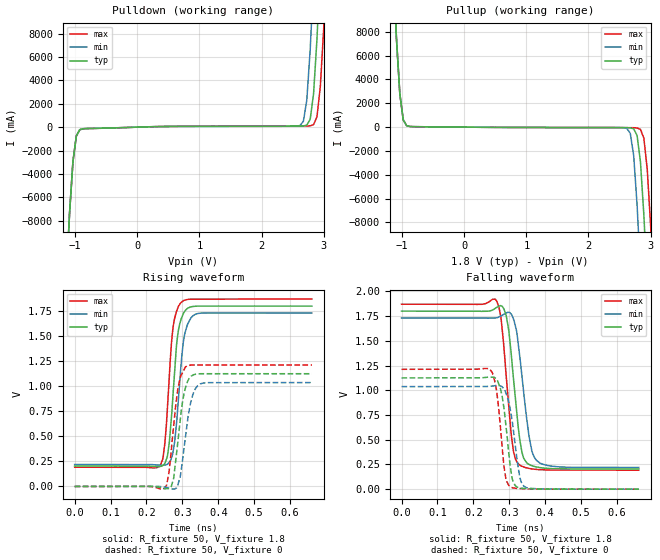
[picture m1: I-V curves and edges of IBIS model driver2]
| IBIS file invchain_skewp_tr5ps.ibs created by PYS2IBIS3
| Missouri S&T EMC Lab
[IBIS Ver] 7.1
[File Name] invchain_skewp_tr5ps.ibs
[File Rev] 1.0
[Date] Jul 27, 2026
[Source] inv_chain variant 'skewp' -- weak PMOS, Wp = Wn
[Notes] Parameter selection; sim_time=6.606e-10, tr=tf=5.000e-12.
[Component] invchain
[Manufacturer] s2ibispy study
[Package]
| variable   typ   min   max
R_pkg 0 NA NA
L_pkg 0H NA NA
C_pkg 0F NA NA
[Pin]  signal_name   model_name   R_pin   L_pin   C_pin
VSSQ   VSSQ   Gnd
VCCQ   VCCQ   Power
| IN IN dummy
PAD   PAD   driver2
| End of Component
| Models and submodels in the file (1): driver2 (Output)
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[Model] driver2
Model_type Output
Polarity Non-Inverting
Enable Active-High
Vinl  = 0.8V
Vinh  = 2V
C_comp 0.4680pF NA NA
[Temperature Range] 27.0000 27.0000 27.0000
[Voltage Range] 1.8000V 1.7000V 1.9000V
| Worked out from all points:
|   slope of the pulldown table from 0 to 0.27 V, typ, clamps not added: 6.79 ohm
|   slope of the pullup table from 0 to 0.27 V, typ, clamps not added: 24.6 ohm
|   rising waveform, R_fixture 50, V_fixture 1.8: 20-80 % time 20.2ps typ, 21.4ps min, 18.9ps max; typ from 0.204 V to 1.8 V
|   rising waveform, R_fixture 50, V_fixture 0: 20-80 % time 22.4ps typ, 24.1ps min, 21.5ps max; typ from 0 V to 1.12 V
|   falling waveform, R_fixture 50, V_fixture 1.8: 20-80 % time 26.1ps typ, 29.4ps min, 23.8ps max; typ from 1.8 V to 0.204 V
|   falling waveform, R_fixture 50, V_fixture 0: 20-80 % time 21.3ps typ, 24.1ps min, 19.2ps max; typ from 1.12 V to 0 V
[Pulldown]
| Voltage   I(typ)   I(min)   I(max)
-1.8V     -87.88A    -87.88A    -87.88A
-1.145V   -13.18A    -13.18A    -13.18A
-1.091V   -7.364A    -7.362A    -7.366A
-981.8mV  -760.7mA   -755.8mA   -765.3mA
-927.3mV  -221.8mA   -216.4mA   -227mA
2.618V    89.37mA    140mA      93.72mA
2.727V    172.9mA    2.318A     99.43mA
2.836V    2.874A     12.68A     215.6mA
2.891V    7.545A     19.33A     885.6mA
2.946V    13.8A      25.98A     3.505A
3V        20.45A     32.63A     8.516A
3.6V      93.6A      105.8A     81.42A
[Pullup]
| Voltage   I(typ)   I(min)   I(max)
-1.8V     93.5A      93.5A      93.5A
-1.145V   13.72A     13.72A     13.72A
-1.091V   7.473A     7.472A     7.473A
-1.036V   2.812A     2.811A     2.812A
-981.8mV  621.2mA    620.4mA    621.9mA
-927.3mV  124.8mA    123.9mA    125.6mA
2.618V    -45.42mA   -113mA     -43.22mA
2.727V    -144.2mA   -2.378A    -50.27mA
2.836V    -2.918A    -12.15A    -185.8mA
2.891V    -7.358A    -18.37A    -914mA
3V        -19.41A    -30.82A    -8.26A
3.6V      -87.89A    -99.3A     -76.48A
[Ramp]
| variable   typ   min   max
dV/dt_r 0.6750/0.02233n 0.6222/0.02405n 0.7272/0.02143n
dV/dt_f 0.9575/0.026n 0.8972/0.02852n 1.0171/0.02435n
R_load = 50
[Rising Waveform]
R_fixture = 50
V_fixture = 1.8
|time   V(typ)   V(min)   V(max)
0s        204.2mV    219.5mV    192.2mV
239.4ps   200.4mV    211.6mV    214.4mV
250ps     224.8mV    213.3mV    386.5mV
257.9ps   296.7mV    220.8mV    757.5mV
273.1ps   869.6mV    324.6mV    1.558V
285ps     1.454V     685.4mV    1.761V
299.6ps   1.699V     1.344V     1.846V
314.8ps   1.778V     1.622V     1.867V
342.5ps   1.8V       1.726V     1.87V
660.6ps   1.8V       1.731V     1.87V
[Rising Waveform]
R_fixture = 50
V_fixture = 0
|time   V(typ)   V(min)   V(max)
0s        9.143nV    8.943nV    9.398nV
250ps     -22.18mV   -6.087mV   -18.27mV
261.9ps   -20.76mV   -16.61mV   124.8mV
270.5ps   17.22mV    -25.51mV   414mV
285ps     368mV      -10.3mV    916.4mV
298.9ps   812mV      217.1mV    1.126V
313.4ps   1.039V     633.7mV    1.203V
328ps     1.108V     907.2mV    1.212V
351.1ps   1.125V     1.025V     1.212V
660.6ps   1.125V     1.037V     1.212V
[Falling Waveform]
R_fixture = 50
V_fixture = 1.8
|time   V(typ)   V(min)   V(max)
0s        1.8V       1.731V     1.87V
263.9ps   1.835V     1.733V     1.908V
277.1ps   1.854V     1.751V     1.728V
294.3ps   1.698V     1.786V     1.019V
310.8ps   1.153V     1.729V     400.4mV
328ps     530.2mV    1.382V     246.6mV
339.9ps   316.1mV    987.1mV    224.2mV
354.4ps   250.5mV    550.5mV    209.7mV
374.9ps   225.1mV    294.1mV    199.5mV
660.6ps   204.2mV    219.5mV    192.2mV
[Falling Waveform]
R_fixture = 50
V_fixture = 0
|time   V(typ)   V(min)   V(max)
0s        1.125V     1.037V     1.212V
250ps     1.134V     1.042V     1.195V
265.2ps   1.109V     1.047V     984.5mV
279.1ps   957.9mV    1.039V     476.5mV
289ps     706.2mV    989.7mV    132.5mV
303.5ps   211mV      790.7mV    21.35mV
315.4ps   41.7mV     481mV      9.751mV
329.3ps   12.19mV    118.9mV    5.918mV
345.2ps   6.465mV    18.23mV    3.106mV
660.6ps   -208.8nV   -818.7nV   2.995nV
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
